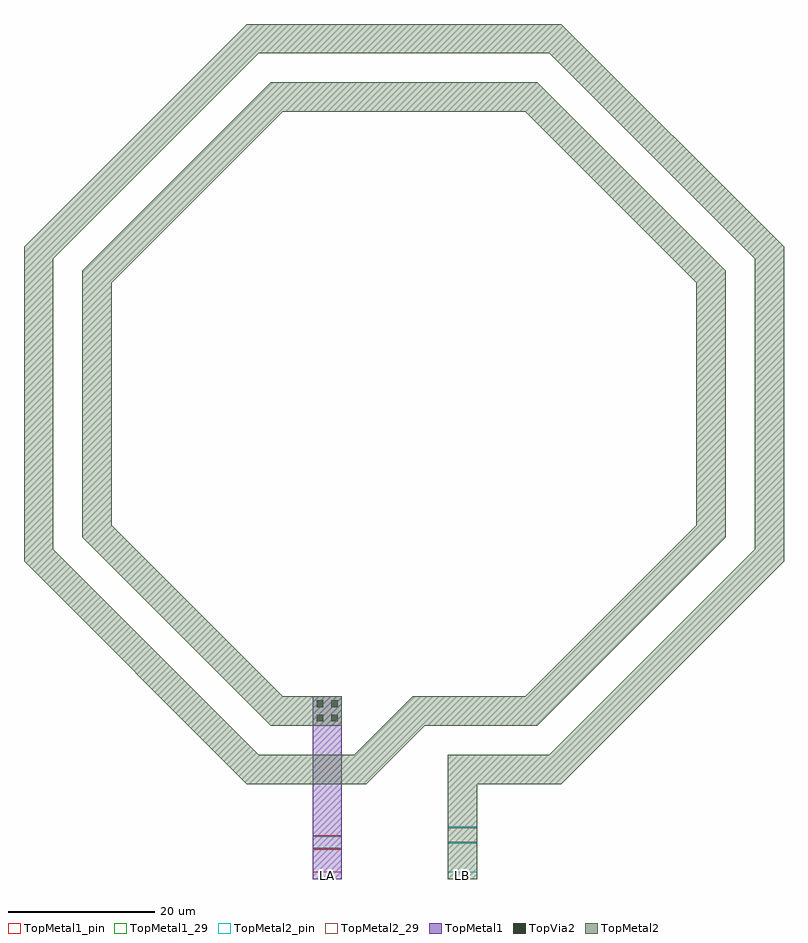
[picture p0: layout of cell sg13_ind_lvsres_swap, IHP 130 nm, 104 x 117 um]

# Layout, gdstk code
from math import pi, radians
import gdstk
lib = gdstk.Library(unit=1e-6, precision=1e-09)
def R(c, l, rs):  # rectangles x0, y0, x1, y1
    for r in rs: c.add(gdstk.rectangle(r[:2], r[2:], *l))
def P(c, l, *ps):  # polygons
    for p in ps: c.add(gdstk.Polygon(p, *l))
TopMetal1 = (126, 0)
TopMetal1_pin = (126, 2)
TopMetal1_29 = (126, 29)
TopVia2 = (133, 0)
TopMetal2 = (134, 0)
TopMetal2_pin = (134, 2)
TopMetal2_29 = (134, 29)

lvsres = lib.new_cell('lvsres')
R(lvsres, TopMetal2, [(-1.2,0,1.2,4), (-1,0,1,4)])
R(lvsres, TopMetal2_pin, [(-1.2,0,-1,4), (1,0,1.2,4)])
R(lvsres, TopMetal2_29, [(-1,0,1,4)])

lvsres_1 = lib.new_cell('lvsres$1')
R(lvsres_1, TopMetal1, [(-1.02,0,1.02,4), (-0.82,0,0.82,4)])
R(lvsres_1, TopMetal1_pin, [(-1.02,0,-0.82,4), (0.82,0,1.02,4)])
R(lvsres_1, TopMetal1_29, [(-0.82,0,0.82,4)])

sg13_ind_lvsres_swap = lib.new_cell('sg13_ind_lvsres_swap')
R(sg13_ind_lvsres_swap, TopMetal1, [(-12.5,-65,-8.5,-60.82), (-12.5,-59.18,-8.5,-40)])
R(sg13_ind_lvsres_swap, TopMetal1_pin, [(-12.5,-65,-8.5,-64)])
R(sg13_ind_lvsres_swap, TopVia2, [(-11.93,-43.43,-11.03,-42.53), (-9.97,-43.43,-9.07,-42.53), (-11.93,-41.47,-11.03,-40.57), (-9.97,-41.47,-9.07,-40.57)])
R(sg13_ind_lvsres_swap, TopMetal2, [(6,-65,10,-60)])
P(sg13_ind_lvsres_swap, TopMetal2, [(6,-58),(6,-48),(19.88,-48),(48,-19.88),(48,19.88),(19.88,48),(-19.88,48),(-48,19.88),(-48,-19.88),(-19.88,-48),(-6.83,-48),(1.17,-40),(16.565,-40),(40,-16.565),(40,16.565),(16.565,40),(-16.565,40),(-40,16.565),(-40,-16.565),(-16.565,-40),(-8.5,-40),(-8.5,-44),(-18.225,-44),(-44,-18.225),(-44,18.225),(-18.225,44),(18.225,44),(44,18.225),(44,-18.225),(18.225,-44),(2.83,-44),(-5.17,-52),(-21.54,-52),(-52,-21.54),(-52,21.54),(-21.54,52),(21.54,52),(52,21.54),(52,-21.54),(21.54,-52),(10,-52),(10,-58)])
R(sg13_ind_lvsres_swap, TopMetal2_pin, [(6,-65,10,-64)])
sg13_ind_lvsres_swap.add(gdstk.Reference(lvsres, (10,-59), rotation=pi/2))
sg13_ind_lvsres_swap.add(gdstk.Reference(lvsres_1, (-8.5,-60), rotation=pi/2))
sg13_ind_lvsres_swap.add(gdstk.Label('LB', (8,-64.5), layer=134, texttype=25))
sg13_ind_lvsres_swap.add(gdstk.Label('LA', (-10.5,-64.5), layer=126, texttype=25))

lib.write_gds('sg13_ind_lvsres_swap.gds')
